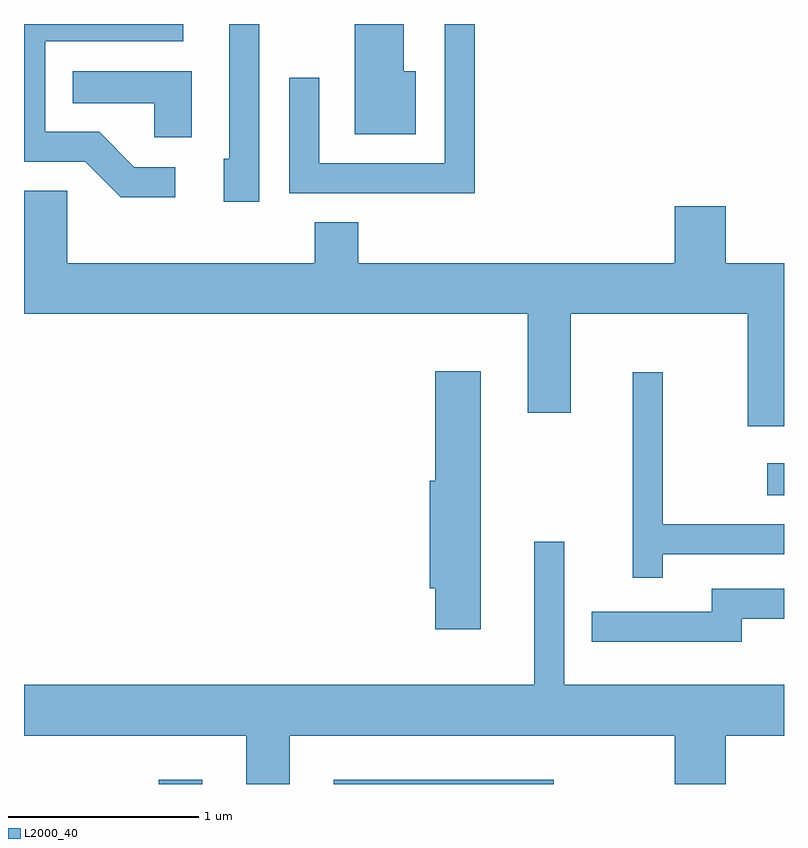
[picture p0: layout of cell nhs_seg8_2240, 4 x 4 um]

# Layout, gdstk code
import gdstk
lib = gdstk.Library(unit=1e-6, precision=1e-09)
def R(c, l, rs):  # rectangles x0, y0, x1, y1
    for r in rs: c.add(gdstk.rectangle(r[:2], r[2:], *l))
def P(c, l, *ps):  # polygons
    for p in ps: c.add(gdstk.Polygon(p, *l))
L2000_40 = (2000, 40)

nhs_seg8_2240 = lib.new_cell('nhs_seg8_2240')
R(nhs_seg8_2240, L2000_40, [(252.321,1878.342,252.549,1878.364), (253.241,1878.342,254.398,1878.364), (255.523,1879.861,255.611,1880.029)])
P(nhs_seg8_2240, L2000_40, [(252.408,1881.589),(252.192,1881.589),(252.007,1881.774),(251.724,1881.774),(251.724,1882.251),(252.448,1882.251),(252.448,1882.342),(251.611,1882.342),(251.611,1881.616),(251.934,1881.616),(252.119,1881.431),(252.408,1881.431)],
  [(252.849,1882.342),(252.691,1882.342),(252.691,1881.634),(252.661,1881.634),(252.661,1881.406),(252.849,1881.406)],
  [(253.984,1882.342),(253.826,1882.342),(253.826,1881.609),(253.164,1881.609),(253.164,1882.058),(253.006,1882.058),(253.006,1881.451),(253.984,1881.451)],
  [(253.674,1882.094),(253.609,1882.094),(253.609,1882.342),(253.351,1882.342),(253.351,1881.761),(253.674,1881.761)],
  [(252.494,1882.094),(251.868,1882.094),(251.868,1881.926),(252.296,1881.926),(252.296,1881.746),(252.494,1881.746)],
  [(255.611,1881.084),(255.304,1881.084),(255.304,1881.384),(255.036,1881.384),(255.036,1881.084),(253.369,1881.084),(253.369,1881.299),(253.141,1881.299),(253.141,1881.084),(251.839,1881.084),(251.839,1881.464),(251.611,1881.464),(251.611,1880.816),(254.261,1880.816),(254.261,1880.296),(254.489,1880.296),(254.489,1880.816),(255.421,1880.816),(255.421,1880.226),(255.611,1880.226)],
  [(254.014,1880.514),(253.776,1880.514),(253.776,1879.939),(253.746,1879.939),(253.746,1879.371),(253.776,1879.371),(253.776,1879.156),(254.014,1879.156)],
  [(254.974,1879.551),(255.611,1879.551),(255.611,1879.709),(254.974,1879.709),(254.974,1880.508),(254.816,1880.508),(254.816,1879.428),(254.974,1879.428)],
  [(253.009,1878.596),(255.036,1878.596),(255.036,1878.342),(255.304,1878.342),(255.304,1878.596),(255.611,1878.596),(255.611,1878.864),(254.454,1878.864),(254.454,1879.618),(254.296,1879.618),(254.296,1878.864),(251.611,1878.864),(251.611,1878.596),(252.781,1878.596),(252.781,1878.342),(253.009,1878.342)],
  [(255.389,1879.211),(255.611,1879.211),(255.611,1879.369),(255.231,1879.369),(255.231,1879.249),(254.598,1879.249),(254.598,1879.091),(255.389,1879.091)])

lib.write_gds('nhs_seg8_2240.gds')
